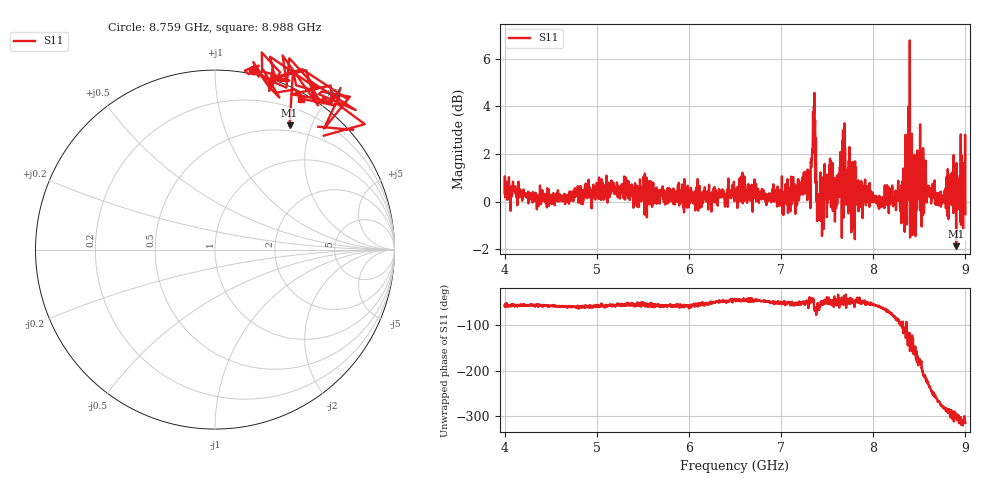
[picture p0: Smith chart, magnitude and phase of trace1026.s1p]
! Created with skrf 1.8.0 (http://scikit-rf.org).
# Hz S RI R 50.0
!freq ReS11 ImS11
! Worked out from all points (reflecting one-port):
!   1601 points, 4 GHz to 9 GHz, reference 50 ohm
!   lowest |S11| = -1.9 dB at 8.9 GHz (marker M1), VSWR 9.36, Z = 21.2 + j84.3 ohm
!   phase of S11 starts at -58 deg and turns -256 deg over the sweep
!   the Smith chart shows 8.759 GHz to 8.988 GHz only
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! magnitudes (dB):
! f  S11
! 4 GHz  0.4
! 4.625 GHz  0.0
! 5.25 GHz  0.1
! 5.875 GHz  0.0
! 6.5 GHz  0.3
! 7.038 GHz  0.3
! 7.125 GHz  0.8
! 7.297 GHz  0.9
! 7.356 GHz  4.0
! 7.369 GHz  3.4
! 7.4 GHz  0.1
! 7.428 GHz  1.2
! 7.512 GHz  1.1
! 7.588 GHz  -0.2
! 7.662 GHz  0.9
! 7.75 GHz  0.3
! 7.784 GHz  0.0
! 7.8 GHz  -1.6
! 8.262 GHz  0.2
! 8.316 GHz  -0.3
! 8.375 GHz  0.1
! 8.394 GHz  0.9
! 8.425 GHz  -1.3
! 8.497 GHz  0.9
! 8.722 GHz  0.1
! 8.9 GHz  -1.9
! 8.972 GHz  0.7
! 9 GHz  -0.5
